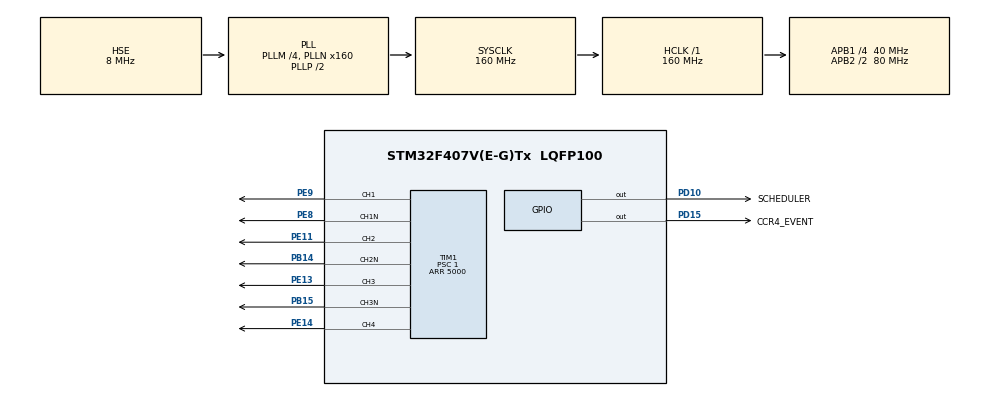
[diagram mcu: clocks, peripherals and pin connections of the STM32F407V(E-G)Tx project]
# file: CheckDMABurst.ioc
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Dma.Request0=TIM2_UP/CH3
Dma.Request1=TIM1_CH4/TRIG/COM
Dma.TIM1_CH4/TRIG/COM.1.Direction=DMA_MEMORY_TO_PERIPH
Dma.TIM1_CH4/TRIG/COM.1.FIFOMode=DMA_FIFOMODE_DISABLE
Dma.TIM1_CH4/TRIG/COM.1.Instance=DMA2_Stream4
Dma.TIM1_CH4/TRIG/COM.1.MemDataAlignment=DMA_MDATAALIGN_WORD
Dma.TIM1_CH4/TRIG/COM.1.MemInc=DMA_MINC_ENABLE
Dma.TIM1_CH4/TRIG/COM.1.Mode=DMA_CIRCULAR
Dma.TIM1_CH4/TRIG/COM.1.PeriphDataAlignment=DMA_PDATAALIGN_WORD
Dma.TIM1_CH4/TRIG/COM.1.PeriphInc=DMA_PINC_DISABLE
Dma.TIM1_CH4/TRIG/COM.1.Priority=DMA_PRIORITY_LOW
Dma.TIM2_UP/CH3.0.Direction=DMA_MEMORY_TO_PERIPH
Dma.TIM2_UP/CH3.0.FIFOMode=DMA_FIFOMODE_DISABLE
Dma.TIM2_UP/CH3.0.Instance=DMA1_Stream1
Dma.TIM2_UP/CH3.0.MemDataAlignment=DMA_MDATAALIGN_WORD
Dma.TIM2_UP/CH3.0.MemInc=DMA_MINC_ENABLE
Dma.TIM2_UP/CH3.0.Mode=DMA_NORMAL
Dma.TIM2_UP/CH3.0.PeriphDataAlignment=DMA_PDATAALIGN_WORD
Dma.TIM2_UP/CH3.0.PeriphInc=DMA_PINC_DISABLE
Dma.TIM2_UP/CH3.0.Priority=DMA_PRIORITY_LOW
Mcu.Family=STM32F4
Mcu.Name=STM32F407V(E-G)Tx
Mcu.Package=LQFP100
NVIC.DMA1_Stream1_IRQn=true\:0\:0\:false\:false\:true\:false\:true
NVIC.DMA2_Stream4_IRQn=true\:0\:0\:false\:false\:true\:false\:true
NVIC.PriorityGroup=NVIC_PRIORITYGROUP_4
NVIC.TIM1_CC_IRQn=true\:0\:0\:false\:false\:true\:true\:true
NVIC.TIM1_UP_TIM10_IRQn=true\:0\:0\:false\:false\:true\:true\:true
NVIC.TIM2_IRQn=true\:0\:0\:false\:false\:true\:true\:true
PB14.Mode=PWM Generation2 CH2 CH2N
PB14.Signal=TIM1_CH2N
PB15.Mode=PWM Generation3 CH3 CH3N
PB15.Signal=TIM1_CH3N
PD10.GPIO_Label=SCHEDULER
PD10.Signal=GPIO_Output
PD15.GPIO_Label=CCR4_EVENT
PD15.Signal=GPIO_Output
PE11.Signal=S_TIM1_CH2
PE13.Signal=S_TIM1_CH3
PE14.Signal=S_TIM1_CH4
PE8.Mode=PWM Generation1 CH1 CH1N
PE8.Signal=TIM1_CH1N
PE9.Signal=S_TIM1_CH1
PH0-OSC_IN.Mode=HSE-External-Oscillator
PH0-OSC_IN.Signal=RCC_OSC_IN
PH1-OSC_OUT.Mode=HSE-External-Oscillator
PH1-OSC_OUT.Signal=RCC_OSC_OUT
ProjectManager.HeapSize=0x200
ProjectManager.StackSize=0x400
ProjectManager.TargetToolchain=STM32CubeIDE
RCC.48MHZClocksFreq_Value=80000000
RCC.AHBFreq_Value=160000000
RCC.APB1CLKDivider=RCC_HCLK_DIV4
RCC.APB1Freq_Value=40000000
RCC.APB1TimFreq_Value=80000000
RCC.APB2CLKDivider=RCC_HCLK_DIV2
RCC.APB2Freq_Value=80000000
RCC.APB2TimFreq_Value=160000000
RCC.CortexFreq_Value=160000000
RCC.HCLKFreq_Value=160000000
RCC.HSE_Timout=10
RCC.HSE_VALUE=8000000
RCC.HSI_VALUE=16000000
RCC.LSE_Timout=50
RCC.LSE_VALUE=32768
RCC.PLLM=4
RCC.PLLN=160
RCC.PLLSourceVirtual=RCC_PLLSOURCE_HSE
RCC.SYSCLKFreq_VALUE=160000000
RCC.SYSCLKSource=RCC_SYSCLKSOURCE_PLLCLK
RCC.VCOOutputFreq_Value=320000000
SH.S_TIM1_CH1.0=TIM1_CH1,PWM Generation1 CH1 CH1N
SH.S_TIM1_CH2.0=TIM1_CH2,PWM Generation2 CH2 CH2N
SH.S_TIM1_CH3.0=TIM1_CH3,PWM Generation3 CH3 CH3N
SH.S_TIM1_CH4.0=TIM1_CH4,Output Compare4 CH4
TIM1.Channel-Output\ Compare4\ CH4=TIM_CHANNEL_4
TIM1.Channel-PWM\ Generation1\ CH1\ CH1N=TIM_CHANNEL_1
TIM1.Channel-PWM\ Generation2\ CH2\ CH2N=TIM_CHANNEL_2
TIM1.Channel-PWM\ Generation3\ CH3\ CH3N=TIM_CHANNEL_3
TIM1.OC1Preload_PWM=DISABLE
TIM1.OC2Preload_PWM=DISABLE
TIM1.OC3Preload_PWM=DISABLE
TIM1.OCMode_4=TIM_OCMODE_TOGGLE
TIM1.Period=5000
TIM1.Prescaler=1
TIM1.Pulse-PWM\ Generation1\ CH1\ CH1N=500
TIM1.Pulse-PWM\ Generation2\ CH2\ CH2N=1000
TIM1.Pulse-PWM\ Generation3\ CH3\ CH3N=2000
TIM1.TIM_MasterOutputTrigger=TIM_TRGO_OC4REF
TIM2.Channel-Output\ Compare3\ No\ Output=TIM_CHANNEL_3
TIM2.OCMode_3=TIM_OCMODE_TOGGLE
TIM2.Period=19999
TIM2.Prescaler=20
VP_TIM1_VS_ClockSourceINT.Mode=Internal
VP_TIM2_VS_ClockSourceINT.Mode=Internal
VP_TIM2_VS_no_output3.Mode=Output Compare3 No Output
board=custom

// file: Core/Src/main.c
/* USER CODE BEGIN Header */
/**
  ******************************************************************************
  * @file           : main.c
  * @brief          : Main program body
  ******************************************************************************
  * @attention
  *
  * <h2><center>&copy; Copyright (c) 2021 STMicroelectronics.
  * All rights reserved.</center></h2>
  *
  * This software component is licensed by ST under BSD 3-Clause license,
  * the "License"; You may not use this file except in compliance with the
  * License. You may obtain a copy of the License at:
  *                        opensource.org/licenses/BSD-3-Clause
  *
  ******************************************************************************
  */
/* USER CODE END Header */
#include "main.h"

TIM_HandleTypeDef htim1;
TIM_HandleTypeDef htim2;
DMA_HandleTypeDef hdma_tim1_ch4_trig_com;
DMA_HandleTypeDef hdma_tim2_up_ch3;

void SystemClock_Config(void);
static void MX_DMA_Init(void);
static void MX_TIM2_Init(void);
static void MX_GPIO_Init(void);
static void MX_TIM1_Init(void);
/* USER CODE BEGIN PFP */

void PWMDriver_ruInit(void);

/* USER CODE END PFP */

int main(void)
{

  /* MCU Configuration--------------------------------------------------------*/

  /* Reset of all peripherals, Initializes the Flash interface and the Systick. */
  HAL_Init();

  /* Configure the system clock */
  SystemClock_Config();

  /* Initialize all configured peripherals */
  MX_DMA_Init();
  MX_TIM2_Init();
  MX_GPIO_Init();
  MX_TIM1_Init();
  /* USER CODE BEGIN 2 */

  DBGMCU->APB2FZ |= DBGMCU_APB2_FZ_DBG_TIM1_STOP;

  TIM1->CNT = 0u;
  HAL_TIM_Base_Stop(&htim1);

  HAL_TIM_PWM_Start(&htim1, TIM_CHANNEL_1);
  HAL_TIM_PWM_Start(&htim1, TIM_CHANNEL_2);
  HAL_TIM_PWM_Start(&htim1, TIM_CHANNEL_3);

  HAL_TIMEx_PWMN_Start(&htim1, TIM_CHANNEL_1);
  HAL_TIMEx_PWMN_Start(&htim1, TIM_CHANNEL_2);
  HAL_TIMEx_PWMN_Start(&htim1, TIM_CHANNEL_3);

  extern volatile uint32_t CCRxValues1[24];
  extern volatile uint32_t CCRxValues2[24];

  TIM1->CCR1 = CCRxValues1[0];
  TIM1->CCR2 = CCRxValues1[1];
  TIM1->CCR3 = CCRxValues1[2];
  TIM1->CCR4 = CCRxValues1[3];

  TIM1->DIER |= TIM_DIER_UIE | TIM_DMA_CC4;

  TIM1->DCR |= (TIM_DMABASE_CCR1 | TIM_DMABURSTLENGTH_4TRANSFERS);

  HAL_DMAEx_MultiBufferStart(&hdma_tim1_ch4_trig_com, (uint32_t*)(&CCRxValues1[0]), &TIM1->DMAR, (uint32_t*)(&CCRxValues2[0]), 24);

//  HAL_TIM_DMABurst_MultiWriteStart(&htim1, TIM_DMABASE_CCR1, TIM_DMA_CC4, (uint32_t*)(&CCRxValues1[0]), TIM_DMABURSTLENGTH_4TRANSFERS, 24);
//
//  //Disable dma
//  hdma_tim1_ch4_trig_com.Instance->CR &= ~(1 << DMA_SxCR_EN);
//
//  hdma_tim1_ch4_trig_com.Instance->M1AR = (uint32_t)(uint32_t*)(&CCRxValues2[0]);
//
//  hdma_tim1_ch4_trig_com.Instance->CR |= DMA_SxCR_DBM;     /* Enable double buffer mode */
//
//  //Enable dma
//  hdma_tim1_ch4_trig_com.Instance->CR |= (1 << DMA_SxCR_EN);

  /* setup */
  HAL_TIM_OC_Start_IT(&htim1, TIM_CHANNEL_4);

  while (1)
	{
//	  HAL_GPIO_TogglePin(GPIOE, GPIO_PIN_8);
//	  HAL_GPIO_TogglePin(GPIOE, GPIO_PIN_9);
//	  HAL_GPIO_TogglePin(GPIOE, GPIO_PIN_11);
//	  HAL_GPIO_TogglePin(GPIOE, GPIO_PIN_13);
//	  HAL_GPIO_TogglePin(GPIOB, GPIO_PIN_14);
//	  HAL_GPIO_TogglePin(GPIOB, GPIO_PIN_15);
//	  for (volatile uint32_t i = 0; i < 10000; i++);
	}

  __HAL_DBGMCU_FREEZE_TIM2();
//  TIM1->CCR1 = CCRxValues[0];
//  TIM1->CCR2 = CCRxValues[1];
//  TIM1->CCR3 = CCRxValues[2];
//  TIM1->CCR4 = CCRxValues[3];
//
//  HAL_TIM_DMABurst_MultiWriteStart(&htim1, TIM_DMABASE_CCR1, TIM_DMA_CC4, &CCRxValues[4], TIM_DMABURSTLENGTH_4TRANSFERS, 80);
//  HAL_TIM_OC_Start_IT(&htim1, TIM_CHANNEL_4);
  /* USER CODE END 2 */

  /* Infinite loop */
  while (1)
  {

  }
}

void SystemClock_Config(void)
{
  RCC_OscInitTypeDef RCC_OscInitStruct = {0};
  RCC_ClkInitTypeDef RCC_ClkInitStruct = {0};

  /** Configure the main internal regulator output voltage
  */
  __HAL_RCC_PWR_CLK_ENABLE();
  __HAL_PWR_VOLTAGESCALING_CONFIG(PWR_REGULATOR_VOLTAGE_SCALE1);
  /** Initializes the RCC Oscillators according to the specified parameters
  * in the RCC_OscInitTypeDef structure.
  */
  RCC_OscInitStruct.OscillatorType = RCC_OSCILLATORTYPE_HSE;
  RCC_OscInitStruct.HSEState = RCC_HSE_ON;
  RCC_OscInitStruct.PLL.PLLState = RCC_PLL_ON;
  RCC_OscInitStruct.PLL.PLLSource = RCC_PLLSOURCE_HSE;
  RCC_OscInitStruct.PLL.PLLM = 4;
  RCC_OscInitStruct.PLL.PLLN = 160;
  RCC_OscInitStruct.PLL.PLLP = RCC_PLLP_DIV2;
  RCC_OscInitStruct.PLL.PLLQ = 4;
  if (HAL_RCC_OscConfig(&RCC_OscInitStruct) != HAL_OK)
  {
    Error_Handler();
  }
  /** Initializes the CPU, AHB and APB buses clocks
  */
  RCC_ClkInitStruct.ClockType = RCC_CLOCKTYPE_HCLK|RCC_CLOCKTYPE_SYSCLK
                              |RCC_CLOCKTYPE_PCLK1|RCC_CLOCKTYPE_PCLK2;
  RCC_ClkInitStruct.SYSCLKSource = RCC_SYSCLKSOURCE_PLLCLK;
  RCC_ClkInitStruct.AHBCLKDivider = RCC_SYSCLK_DIV1;
  RCC_ClkInitStruct.APB1CLKDivider = RCC_HCLK_DIV4;
  RCC_ClkInitStruct.APB2CLKDivider = RCC_HCLK_DIV2;

  if (HAL_RCC_ClockConfig(&RCC_ClkInitStruct, FLASH_LATENCY_5) != HAL_OK)
  {
    Error_Handler();
  }
}

static void MX_TIM1_Init(void)
{

  TIM_ClockConfigTypeDef sClockSourceConfig = {0};
  TIM_MasterConfigTypeDef sMasterConfig = {0};
  TIM_OC_InitTypeDef sConfigOC = {0};
  TIM_BreakDeadTimeConfigTypeDef sBreakDeadTimeConfig = {0};

  htim1.Instance = TIM1;
  htim1.Init.Prescaler = 1;
  htim1.Init.CounterMode = TIM_COUNTERMODE_UP;
  htim1.Init.Period = 5000;
  htim1.Init.ClockDivision = TIM_CLOCKDIVISION_DIV1;
  htim1.Init.RepetitionCounter = 0;
  htim1.Init.AutoReloadPreload = TIM_AUTORELOAD_PRELOAD_DISABLE;
  if (HAL_TIM_Base_Init(&htim1) != HAL_OK)
  {
    Error_Handler();
  }
  sClockSourceConfig.ClockSource = TIM_CLOCKSOURCE_INTERNAL;
  if (HAL_TIM_ConfigClockSource(&htim1, &sClockSourceConfig) != HAL_OK)
  {
    Error_Handler();
  }
  if (HAL_TIM_PWM_Init(&htim1) != HAL_OK)
  {
    Error_Handler();
  }
  if (HAL_TIM_OC_Init(&htim1) != HAL_OK)
  {
    Error_Handler();
  }
  sMasterConfig.MasterOutputTrigger = TIM_TRGO_OC4REF;
  sMasterConfig.MasterSlaveMode = TIM_MASTERSLAVEMODE_DISABLE;
  if (HAL_TIMEx_MasterConfigSynchronization(&htim1, &sMasterConfig) != HAL_OK)
  {
    Error_Handler();
  }
  sConfigOC.OCMode = TIM_OCMODE_PWM1;
  sConfigOC.Pulse = 500;
  sConfigOC.OCPolarity = TIM_OCPOLARITY_HIGH;
  sConfigOC.OCNPolarity = TIM_OCNPOLARITY_HIGH;
  sConfigOC.OCFastMode = TIM_OCFAST_DISABLE;
  sConfigOC.OCIdleState = TIM_OCIDLESTATE_RESET;
  sConfigOC.OCNIdleState = TIM_OCNIDLESTATE_RESET;
  if (HAL_TIM_PWM_ConfigChannel(&htim1, &sConfigOC, TIM_CHANNEL_1) != HAL_OK)
  {
    Error_Handler();
  }
  __HAL_TIM_DISABLE_OCxPRELOAD(&htim1, TIM_CHANNEL_1);
  sConfigOC.Pulse = 1000;
  if (HAL_TIM_PWM_ConfigChannel(&htim1, &sConfigOC, TIM_CHANNEL_2) != HAL_OK)
  {
    Error_Handler();
  }
  __HAL_TIM_DISABLE_OCxPRELOAD(&htim1, TIM_CHANNEL_2);
  sConfigOC.Pulse = 2000;
  if (HAL_TIM_PWM_ConfigChannel(&htim1, &sConfigOC, TIM_CHANNEL_3) != HAL_OK)
  {
    Error_Handler();
  }
  __HAL_TIM_DISABLE_OCxPRELOAD(&htim1, TIM_CHANNEL_3);
  sConfigOC.OCMode = TIM_OCMODE_TOGGLE;
  sConfigOC.Pulse = 0;
  if (HAL_TIM_OC_ConfigChannel(&htim1, &sConfigOC, TIM_CHANNEL_4) != HAL_OK)
  {
    Error_Handler();
  }
  sBreakDeadTimeConfig.OffStateRunMode = TIM_OSSR_DISABLE;
  sBreakDeadTimeConfig.OffStateIDLEMode = TIM_OSSI_DISABLE;
  sBreakDeadTimeConfig.LockLevel = TIM_LOCKLEVEL_OFF;
  sBreakDeadTimeConfig.DeadTime = 0;
  sBreakDeadTimeConfig.BreakState = TIM_BREAK_DISABLE;
  sBreakDeadTimeConfig.BreakPolarity = TIM_BREAKPOLARITY_HIGH;
  sBreakDeadTimeConfig.AutomaticOutput = TIM_AUTOMATICOUTPUT_DISABLE;
  if (HAL_TIMEx_ConfigBreakDeadTime(&htim1, &sBreakDeadTimeConfig) != HAL_OK)
  {
    Error_Handler();
  }
  HAL_TIM_MspPostInit(&htim1);

}

static void MX_TIM2_Init(void)
{

  TIM_ClockConfigTypeDef sClockSourceConfig = {0};
  TIM_MasterConfigTypeDef sMasterConfig = {0};
  TIM_OC_InitTypeDef sConfigOC = {0};

  htim2.Instance = TIM2;
  htim2.Init.Prescaler = 20;
  htim2.Init.CounterMode = TIM_COUNTERMODE_UP;
  htim2.Init.Period = 19999;
  htim2.Init.ClockDivision = TIM_CLOCKDIVISION_DIV1;
  htim2.Init.AutoReloadPreload = TIM_AUTORELOAD_PRELOAD_DISABLE;
  if (HAL_TIM_Base_Init(&htim2) != HAL_OK)
  {
    Error_Handler();
  }
  sClockSourceConfig.ClockSource = TIM_CLOCKSOURCE_INTERNAL;
  if (HAL_TIM_ConfigClockSource(&htim2, &sClockSourceConfig) != HAL_OK)
  {
    Error_Handler();
  }
  if (HAL_TIM_OC_Init(&htim2) != HAL_OK)
  {
    Error_Handler();
  }
  sMasterConfig.MasterOutputTrigger = TIM_TRGO_RESET;
  sMasterConfig.MasterSlaveMode = TIM_MASTERSLAVEMODE_DISABLE;
  if (HAL_TIMEx_MasterConfigSynchronization(&htim2, &sMasterConfig) != HAL_OK)
  {
    Error_Handler();
  }
  sConfigOC.OCMode = TIM_OCMODE_TOGGLE;
  sConfigOC.Pulse = 0;
  sConfigOC.OCPolarity = TIM_OCPOLARITY_HIGH;
  sConfigOC.OCFastMode = TIM_OCFAST_DISABLE;
  if (HAL_TIM_OC_ConfigChannel(&htim2, &sConfigOC, TIM_CHANNEL_3) != HAL_OK)
  {
    Error_Handler();
  }

}

static void MX_DMA_Init(void)
{

  /* DMA controller clock enable */
  __HAL_RCC_DMA1_CLK_ENABLE();
  __HAL_RCC_DMA2_CLK_ENABLE();

  /* DMA interrupt init */
  /* DMA1_Stream1_IRQn interrupt configuration */
  HAL_NVIC_SetPriority(DMA1_Stream1_IRQn, 0, 0);
  HAL_NVIC_EnableIRQ(DMA1_Stream1_IRQn);
  /* DMA2_Stream4_IRQn interrupt configuration */
  HAL_NVIC_SetPriority(DMA2_Stream4_IRQn, 0, 0);
  HAL_NVIC_EnableIRQ(DMA2_Stream4_IRQn);

}

static void MX_GPIO_Init(void)
{
  GPIO_InitTypeDef GPIO_InitStruct = {0};

  /* GPIO Ports Clock Enable */
  __HAL_RCC_GPIOH_CLK_ENABLE();
  __HAL_RCC_GPIOE_CLK_ENABLE();
  __HAL_RCC_GPIOB_CLK_ENABLE();
  __HAL_RCC_GPIOD_CLK_ENABLE();

  /*Configure GPIO pin Output Level */
  HAL_GPIO_WritePin(GPIOD, SCHEDULER_Pin|CCR4_EVENT_Pin, GPIO_PIN_RESET);

  /*Configure GPIO pins : SCHEDULER_Pin CCR4_EVENT_Pin */
  GPIO_InitStruct.Pin = SCHEDULER_Pin|CCR4_EVENT_Pin;
  GPIO_InitStruct.Mode = GPIO_MODE_OUTPUT_PP;
  GPIO_InitStruct.Pull = GPIO_NOPULL;
  GPIO_InitStruct.Speed = GPIO_SPEED_FREQ_LOW;
  HAL_GPIO_Init(GPIOD, &GPIO_InitStruct);

}

void Error_Handler(void)
{
  __disable_irq();
  while (1)
  {
  }
}

/************************ (C) COPYRIGHT STMicroelectronics *****END OF FILE****/
